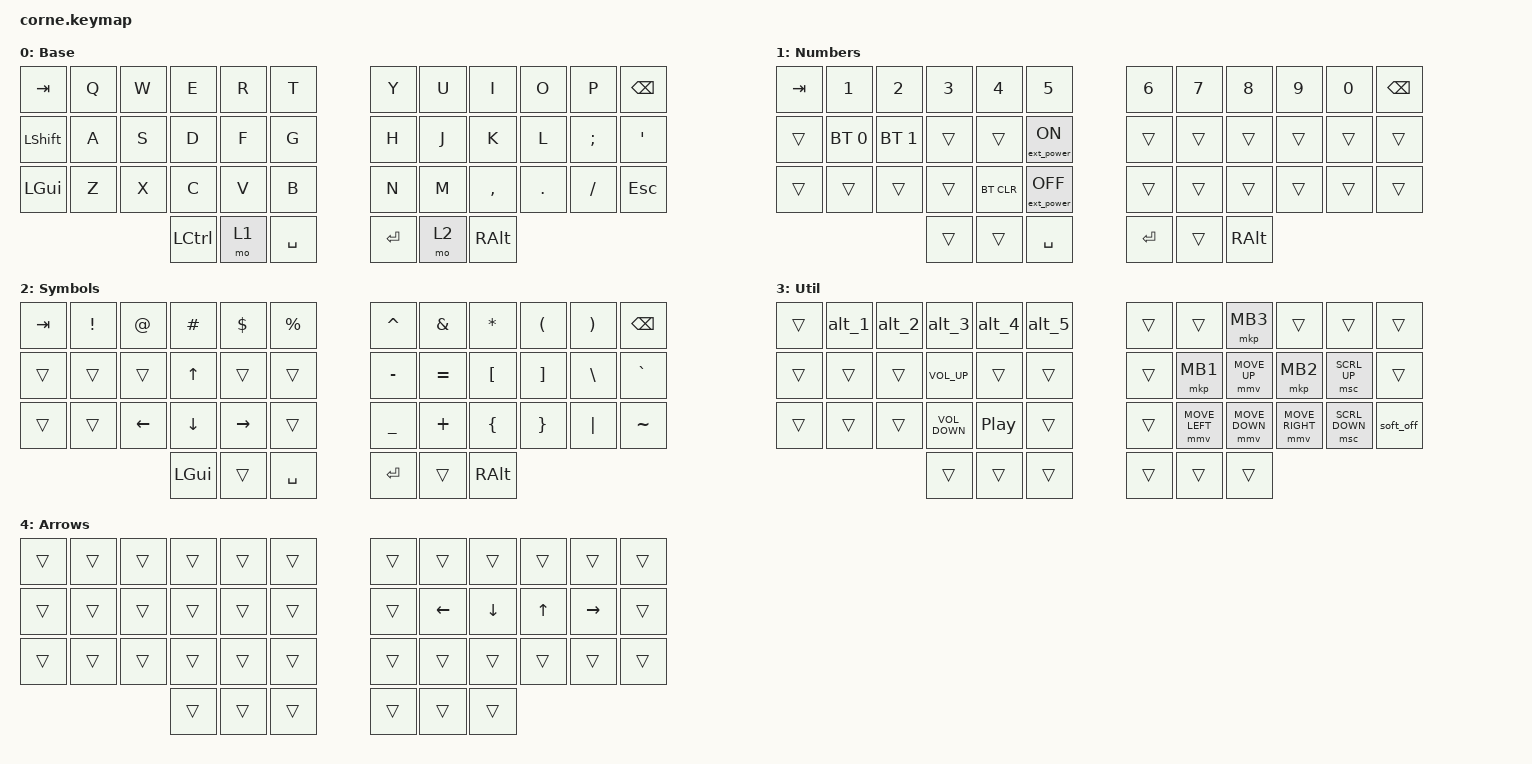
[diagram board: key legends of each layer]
/*
 * Copyright (c) 2020 The ZMK Contributors
 *
 * SPDX-License-Identifier: MIT
 */

#include <behaviors.dtsi>
#include <dt-bindings/zmk/bt.h>
#include <dt-bindings/zmk/ext_power.h>
#include <dt-bindings/zmk/keys.h>
#include <dt-bindings/zmk/pointing.h>

#define ZMK_POINTING_DEFAULT_MOVE_VAL 1200
#define ZMK_POINTING_DEFAULT_SCRL_VAL 20

/ {
    macros {
        alt_1: alt_1 {
            compatible = "zmk,behavior-macro";
            #binding-cells = <0>;
            bindings =
                <&macro_press>,
                <&kp LALT>,
                <&macro_tap>,
                <&kp N1>,
                <&macro_release>,
                <&kp LALT>;
        };

        alt_2: alt_2 {
            compatible = "zmk,behavior-macro";
            #binding-cells = <0>;
            bindings =
                <&macro_press>,
                <&kp LALT>,
                <&macro_tap>,
                <&kp N2>,
                <&macro_release>,
                <&kp LALT>;
        };

        alt_3: alt_3 {
            compatible = "zmk,behavior-macro";
            #binding-cells = <0>;
            bindings =
                <&macro_press>,
                <&kp LALT>,
                <&macro_tap>,
                <&kp N3>,
                <&macro_release>,
                <&kp LALT>;
        };

        alt_4: alt_4 {
            compatible = "zmk,behavior-macro";
            #binding-cells = <0>;
            bindings =
                <&macro_press>,
                <&kp LALT>,
                <&macro_tap>,
                <&kp N4>,
                <&macro_release>,
                <&kp LALT>;
        };

        alt_5: alt_5 {
            compatible = "zmk,behavior-macro";
            #binding-cells = <0>;
            bindings =
                <&macro_press>,
                <&kp LALT>,
                <&macro_tap>,
                <&kp N5>,
                <&macro_release>,
                <&kp LALT>;
        };
    };
};

/ {
    combos {
        compatible = "zmk,combos";

        tab {
            bindings = <&kp TAB>;
            key-positions = <1 2>;
        };
    };

    keymap {
        compatible = "zmk,keymap";

        Base {
            // -----------------------------------------------------------------------------------------
            // |  TAB |  Q  |  W  |  E  |  R  |  T  |   |  Y  |  U   |  I  |  O  |  P  | BSPC |
            // | CTRL |  A  |  S  |  D  |  F  |  G  |   |  H  |  J   |  K  |  L  |  ;  |  '   |
            // | SHFT |  Z  |  X  |  C  |  V  |  B  |   |  N  |  M   |  ,  |  .  |  /  | ESC  |
            //                    | GUI | LWR | SPC |   | ENT | RSE  | ALT |

            bindings = <
&kp TAB    &kp Q  &kp W  &kp E      &kp R  &kp T        &kp Y    &kp U  &kp I      &kp O    &kp P     &kp BSPC
&kp LSHFT  &kp A  &kp S  &kp D      &kp F  &kp G        &kp H    &kp J  &kp K      &kp L    &kp SEMI  &kp SQT
&kp LGUI   &kp Z  &kp X  &kp C      &kp V  &kp B        &kp N    &kp M  &kp COMMA  &kp DOT  &kp FSLH  &kp ESC
                         &kp LCTRL  &mo 1  &kp SPACE    &kp RET  &mo 2  &kp RALT
            >;
        };

        Numbers {
            // -----------------------------------------------------------------------------------------
            // |  TAB |  1  |  2  |  3  |  4  |  5  |   |  6  |  7  |  8  |  9  |  0  | BSPC |
            // | BTCLR| BT1 | BT2 | BT3 | BT4 | BT5 |   | LFT | DWN |  UP | RGT |     |      |
            // | SHFT |     |     |     |     |     |   |     |     |     |     |     |      |
            //                    | GUI |     | SPC |   | ENT |     | ALT |

            bindings = <
&kp TAB  &kp N1        &kp N2        &kp N3  &kp N4      &kp N5               &kp N6   &kp N7  &kp N8    &kp N9  &kp N0  &kp BSPC
&trans   &bt BT_SEL 0  &bt BT_SEL 1  &trans  &trans      &ext_power EP_ON     &trans   &trans  &trans    &trans  &trans  &trans
&trans   &trans        &trans        &trans  &bt BT_CLR  &ext_power EP_OFF    &trans   &trans  &trans    &trans  &trans  &trans
                                     &trans  &trans      &kp SPACE            &kp RET  &trans  &kp RALT
            >;
        };

        Symbols {
            // -----------------------------------------------------------------------------------------
            // |  TAB |  !  |  @  |  #  |  $  |  %  |   |  ^  |  &  |  *  |  (  |  )  | BSPC |
            // | CTRL |     |     |     |     |     |   |  -  |  =  |  [  |  ]  |  \  |  `   |
            // | SHFT |     |     |     |     |     |   |  _  |  +  |  {  |  }  | "|" |  ~   |
            //                    | GUI |     | SPC |   | ENT |     | ALT |

            bindings = <
&kp TAB  &kp EXCL  &kp AT    &kp HASH      &kp DLLR   &kp PRCNT    &kp CARET  &kp AMPS   &kp ASTRK  &kp LPAR  &kp RPAR  &kp BSPC
&trans   &trans    &trans    &kp UP_ARROW  &trans     &trans       &kp MINUS  &kp EQUAL  &kp LBKT   &kp RBKT  &kp BSLH  &kp GRAVE
&trans   &trans    &kp LEFT  &kp DOWN      &kp RIGHT  &trans       &kp UNDER  &kp PLUS   &kp LBRC   &kp RBRC  &kp PIPE  &kp TILDE
                             &kp LGUI      &trans     &kp SPACE    &kp RET    &trans     &kp RALT
            >;
        };

        Util {
            bindings = <
&trans  &alt_1  &alt_2  &alt_3             &alt_4            &alt_5    &trans  &trans          &mkp MB3        &trans           &trans          &trans
&trans  &trans  &trans  &kp C_VOLUME_UP    &trans            &trans    &trans  &mkp MB1        &mmv MOVE_UP    &mkp MB2         &msc SCRL_UP    &trans
&trans  &trans  &trans  &kp C_VOLUME_DOWN  &kp C_PLAY_PAUSE  &trans    &trans  &mmv MOVE_LEFT  &mmv MOVE_DOWN  &mmv MOVE_RIGHT  &msc SCRL_DOWN  &soft_off
                        &trans             &trans            &trans    &trans  &trans          &trans
            >;
        };

        Arrows {
            bindings = <
&trans  &trans  &trans  &trans  &trans  &trans    &trans  &trans    &trans    &trans        &trans     &trans
&trans  &trans  &trans  &trans  &trans  &trans    &trans  &kp LEFT  &kp DOWN  &kp UP_ARROW  &kp RIGHT  &trans
&trans  &trans  &trans  &trans  &trans  &trans    &trans  &trans    &trans    &trans        &trans     &trans
                        &trans  &trans  &trans    &trans  &trans    &trans
            >;
        };
    };

    conditional_layers {
        compatible = "zmk,conditional-layers";

        Top_Layer {
            if-layers = <1 2>;
            then-layer = <3>;
        };
    };
};

&led_strip { chain-length = <6>; };
